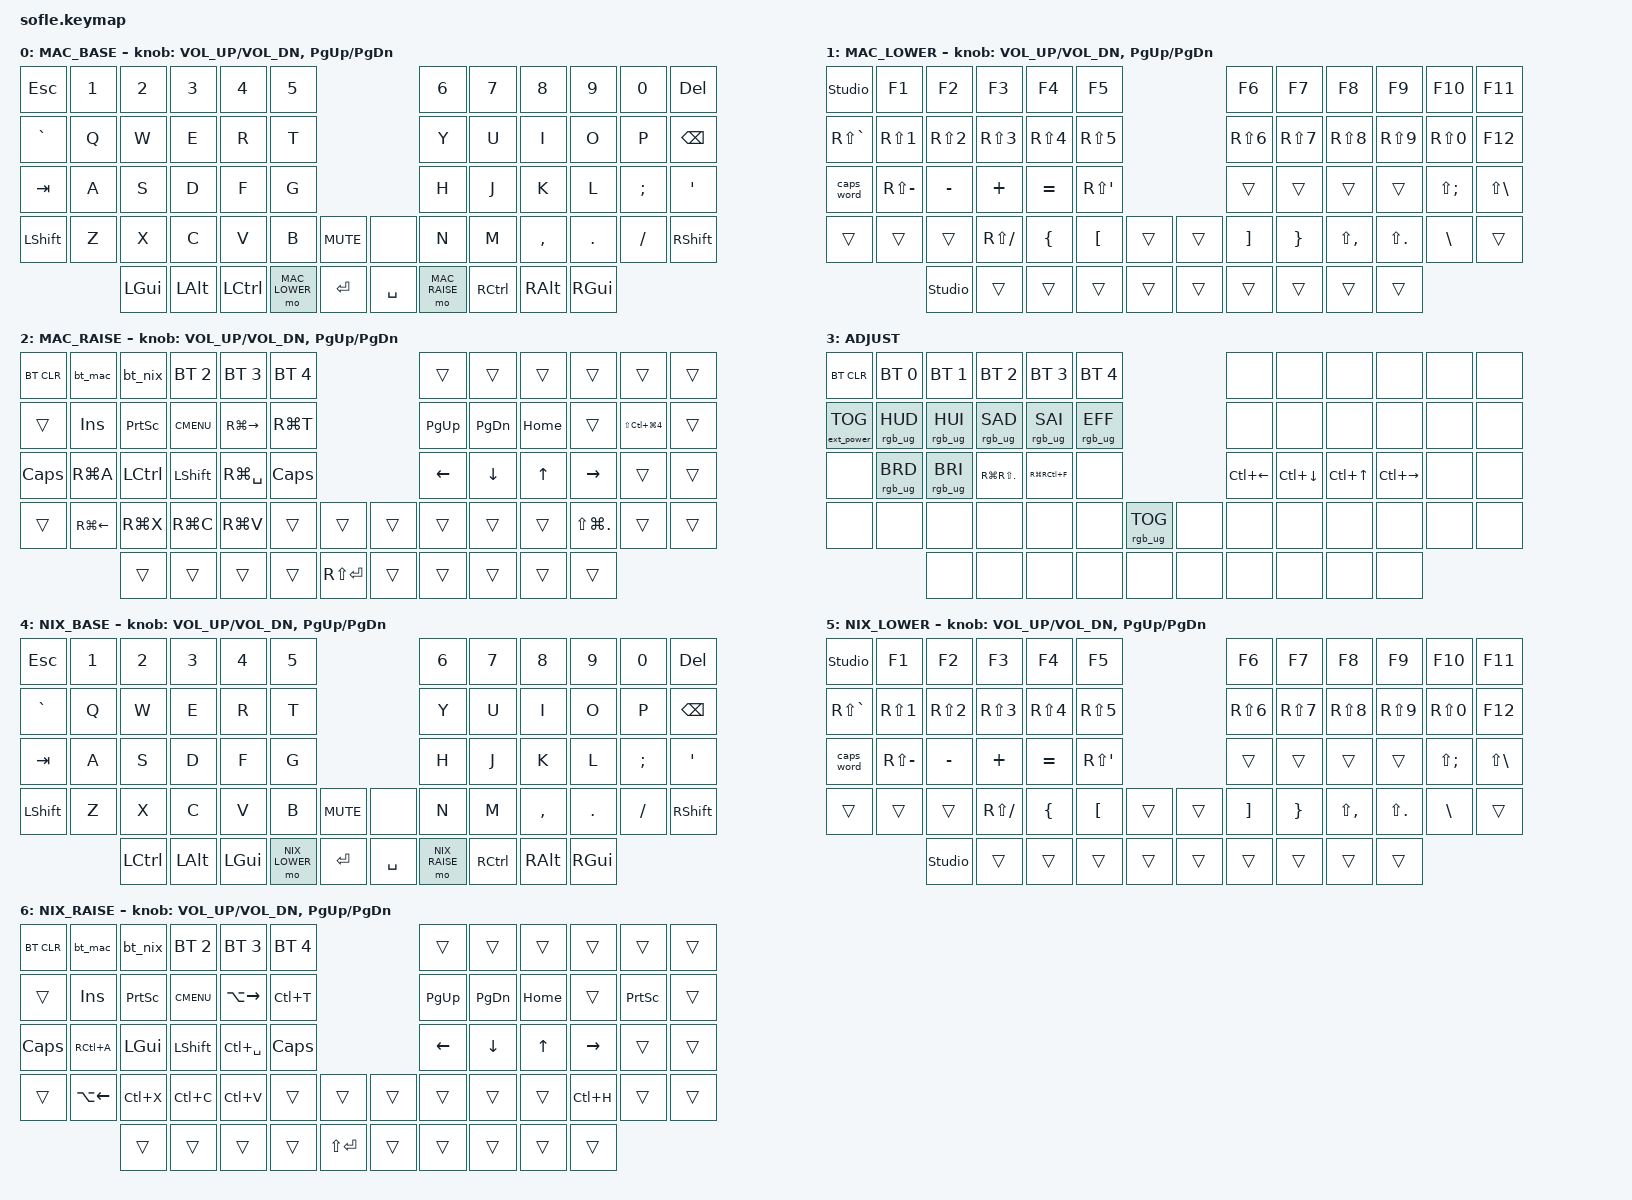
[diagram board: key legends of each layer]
/*
 * Copyright (c) 2020 The ZMK Contributors
 *
 * SPDX-License-Identifier: MIT
 */

#include <behaviors.dtsi>
#include <dt-bindings/zmk/bt.h>
#include <dt-bindings/zmk/ext_power.h>
#include <dt-bindings/zmk/keys.h>
#include <dt-bindings/zmk/rgb.h>

#define MAC_BASE 0
#define MAC_LOWER 1
#define MAC_RAISE 2
#define ADJUST 3
#define NIX_BASE 4
#define NIX_LOWER 5
#define NIX_RAISE 6

/ {
    // --- MACROS ---

    macros {
        // Switch to Mac: Select BT Profile 0 AND switch to Layer 0

        bt_mac: bt_profile_mac {
            label = "BT_MAC";
            compatible = "zmk,behavior-macro";
            #binding-cells = <0>;
            bindings = <&bt BT_SEL 0 &to MAC_BASE>;
        };

        // Switch to Linux: Select BT Profile 1 AND switch to Layer 4

        bt_nix: bt_profile_linux {
            label = "BT_NIX";
            compatible = "zmk,behavior-macro";
            #binding-cells = <0>;
            bindings = <&bt BT_SEL 1 &to NIX_BASE>;
        };
    };

    // --- CONDITIONAL LAYERS ---

    conditional_layers {
        compatible = "zmk,conditional-layers";

        // If Mac Lower + Mac Raise are pressed -> Adjust

        mac_adjust_layer {
            if-layers = <MAC_LOWER MAC_RAISE>;
            then-layer = <ADJUST>;
        };

        // If Linux Lower + Linux Raise are pressed -> Adjust

        nix_adjust_layer {
            if-layers = <NIX_LOWER NIX_RAISE>;
            then-layer = <ADJUST>;
        };
    };

    keymap {
        compatible = "zmk,keymap";

        // ------------------------------------------------------------------------------------------------------------
        // LAYER 0: MAC BASE
        // ------------------------------------------------------------------------------------------------------------
        // |  ESC  |  1  |  2  |  3   |  4   |  5   |                   |  6   |  7    |  8    |  9   |   0   |  DEL  |
        // |   `   |  Q  |  W  |  E   |  R   |  T   |                   |  Y   |  U    |  I    |  O   |   P   | BKSPC |
        // |  TAB  |  A  |  S  |  D   |  F   |  G   |                   |  H   |  J    |  K    |  L   |   ;   |   '   |
        // | SHIFT |  Z  |  X  |  C   |  V   |  B   |  MUTE  |  |       |  N   |  M    |  ,    |  .   |   /   | SHIFT |
        //               | GUI | ALT  | CTRL | LOWER|  ENTER |  | SPACE | RAISE| CTRL  | ALT   | GUI  |

        mac_default_layer {
            label = "MAC_BASE";
            bindings = <
&kp ESCAPE  &kp N1  &kp N2    &kp N3    &kp N4     &kp N5                                  &kp N6         &kp N7     &kp N8     &kp N9    &kp N0    &kp DELETE
&kp GRAVE   &kp Q   &kp W     &kp E     &kp R      &kp T                                   &kp Y          &kp U      &kp I      &kp O     &kp P     &kp BSPC
&kp TAB     &kp A   &kp S     &kp D     &kp F      &kp G                                   &kp H          &kp J      &kp K      &kp L     &kp SEMI  &kp SQT
&kp LSHFT   &kp Z   &kp X     &kp C     &kp V      &kp B          &kp C_MUTE    &none      &kp N          &kp M      &kp COMMA  &kp DOT   &kp FSLH  &kp RSHFT
                    &kp LGUI  &kp LALT  &kp LCTRL  &mo MAC_LOWER  &kp RET       &kp SPACE  &mo MAC_RAISE  &kp RCTRL  &kp RALT   &kp RGUI
            >;

            sensor-bindings = <&inc_dec_kp C_VOL_UP C_VOL_DN &inc_dec_kp PG_UP PG_DN>;
        };

        // ------------------------------------------------------------------------------------------------------------
        // LAYER 1: MAC LOWER
        // ------------------------------------------------------------------------------------------------------------
        // | UNLOCK|  F1 |  F2 |  F3  |  F4  |  F5  |                   |  F6  |  F7   |  F8   |  F9  |  F10  |  F11  |
        // |   ~   |  !  |  @  |  #   |  $   |  %   |                   |  ^   |  &    |  * |  (   |   )   |  F12  |
        // |  CAPS |  !  |  @  |  #   |  $   |  %   |                   |  ^   |  &    |  * |  (   |   )   |   |   |
        // |       |  =  |  -  |  +   |  {   |  }   |        |  |       |  [   |  ]    |  ;    |  :   |   \   |       |
        //               |     |      |      |      |        |  |       |      |       |       |      |

        mac_lower_layer {
            label = "MAC_LOWER";
            bindings = <
&studio_unlock  &kp F1         &kp F2          &kp F3         &kp F4      &kp F5                              &kp F6             &kp F7           &kp F8         &kp F9          &kp F10            &kp F11
&kp RS(GRAVE)   &kp RS(N1)     &kp RS(N2)      &kp RS(N3)     &kp RS(N4)  &kp RS(N5)                          &kp RS(N6)         &kp RS(N7)       &kp RS(N8)     &kp RS(N9)      &kp RS(N0)         &kp F12
&caps_word      &kp RS(MINUS)  &kp MINUS       &kp PLUS       &kp EQUAL   &kp RS(SQT)                         &trans             &trans           &trans         &trans          &kp LS(SEMICOLON)  &kp LS(BACKSLASH)
&trans          &trans         &trans          &kp RS(SLASH)  &kp LBRC    &kp LEFT_BRACKET  &trans    &trans  &kp RIGHT_BRACKET  &kp RIGHT_BRACE  &kp LS(COMMA)  &kp LS(PERIOD)  &kp BSLH           &trans
                               &studio_unlock  &trans         &trans      &trans            &trans    &trans  &trans             &trans           &trans         &trans
            >;

            sensor-bindings = <&inc_dec_kp C_VOL_UP C_VOL_DN &inc_dec_kp PG_UP PG_DN>;
        };

        // ------------------------------------------------------------------------------------------------------------
        // LAYER 2: MAC RAISE
        // ------------------------------------------------------------------------------------------------------------
        // | BTCLR   | MAC | NIX |  BT2 |  BT3 |  BT4 |                   |      |       |       |      |        |       |
        // |         | INS | PSCR| MENU | Cmd->|      |                   | PGUP | PGDN  | HOME  |      | S+C+G+4|      |
        // |CAPS_WORD| ALT | CTRL| SHIFT| CmdSp| CAPS |                   | LEFT | DOWN  |  UP   | RIGHT|        |       |
        // |         |Cmd<-| CmdX| CmdC | CmdV |      |        |  |       |      |       |       |      |        |       |
        //                 |     |      |      |      |        |  |       |      |       |       |      |

        mac_raise_layer {
            label = "MAC_RAISE";
            bindings = <
&bt BT_CLR  &bt_mac       &bt_nix    &bt BT_SEL 2  &bt BT_SEL 3   &bt BT_SEL 4                           &trans     &trans         &trans    &trans              &trans              &trans
&trans      &kp INS       &kp PSCRN  &kp K_CMENU   &kp RG(RIGHT)  &kp RG(T)                              &kp PG_UP  &kp PAGE_DOWN  &kp HOME  &trans              &kp LS(LC(LG(N4)))  &trans
&kp CAPS    &kp RG(A)     &kp LCTRL  &kp LSHFT     &kp RG(SPACE)  &kp CLCK                               &kp LEFT   &kp DOWN       &kp UP    &kp RIGHT           &trans              &trans
&trans      &kp RG(LEFT)  &kp RG(X)  &kp RG(C)     &kp RG(V)      &trans        &trans           &trans  &trans     &trans         &trans    &kp LS(LG(PERIOD))  &trans              &trans
                          &trans     &trans        &trans         &trans        &kp RS(ENTER)    &trans  &trans     &trans         &trans    &trans
            >;

            sensor-bindings = <&inc_dec_kp C_VOL_UP C_VOL_DN &inc_dec_kp PG_UP PG_DN>;
        };

        // ----------------------------------------------------------------------------------------------------------------------------
        // LAYER 3: ADJUST (Shared)
        // ----------------------------------------------------------------------------------------------------------------------------
        // | BTCLR  |  BT0    |  BT1    |   BT2   |   BT3   |   BT4   |                  |      |      |       |      |       |       |
        // | EXTPWR | RGB_HUD | RGB_HUI | RGB_SAD | RGB_SAI | RGB_EFF |                  |      |      |       |      |       |       |
        // |        | RGB_BRD | RGB_BRI | Cmd+S+. | Cmd+C+F |         |                  | C+Lf | C+Dn | C+Up  | C+Rg |       |       |
        // |        |         |         |         |         |         | RGB_TOG | |      |      |      |       |      |       |       |
        //                    |         |         |         |         |         | |      |      |      |       |      |

        adjust_layer {
            label = "ADJUST";
            bindings = <
&bt BT_CLR         &bt BT_SEL 0     &bt BT_SEL 1     &bt BT_SEL 2        &bt BT_SEL 3     &bt BT_SEL 4                               &none         &none         &none       &none          &none  &none
&ext_power EP_TOG  &rgb_ug RGB_HUD  &rgb_ug RGB_HUI  &rgb_ug RGB_SAD     &rgb_ug RGB_SAI  &rgb_ug RGB_EFF                            &none         &none         &none       &none          &none  &none
&none              &rgb_ug RGB_BRD  &rgb_ug RGB_BRI  &kp RG(RS(PERIOD))  &kp RG(RC(F))    &none                                      &kp LC(LEFT)  &kp LC(DOWN)  &kp LC(UP)  &kp LC(RIGHT)  &none  &none
&none              &none            &none            &none               &none            &none            &rgb_ug RGB_TOG    &none  &none         &none         &none       &none          &none  &none
                                    &none            &none               &none            &none            &none              &none  &none         &none         &none       &none
            >;
        };

        // ------------------------------------------------------------------------------------------------------------
        // LAYER 4: NIX BASE
        // ------------------------------------------------------------------------------------------------------------
        // |  ESC  |  1  |  2  |  3   |  4   |  5   |                   |  6   |  7    |  8    |  9   |   0   |  DEL  |
        // |   `   |  Q  |  W  |  E   |  R   |  T   |                   |  Y   |  U    |  I    |  O   |   P   | BKSPC |
        // |  TAB  |  A  |  S  |  D   |  F   |  G   |                   |  H   |  J    |  K    |  L   |   ;   |   '   |
        // | SHIFT |  Z  |  X  |  C   |  V   |  B   |  MUTE  |  |       |  N   |  M    |  ,    |  .   |   /   | SHIFT |
        //               | CTRL| ALT  | GUI  | LOWER|  ENTER |  | SPACE | RAISE| CTRL  | ALT   | GUI  |

        nix_default_layer {
            label = "NIX_BASE";
            bindings = <
&kp ESCAPE  &kp N1  &kp N2     &kp N3    &kp N4    &kp N5                                  &kp N6         &kp N7     &kp N8     &kp N9    &kp N0    &kp DELETE
&kp GRAVE   &kp Q   &kp W      &kp E     &kp R     &kp T                                   &kp Y          &kp U      &kp I      &kp O     &kp P     &kp BSPC
&kp TAB     &kp A   &kp S      &kp D     &kp F     &kp G                                   &kp H          &kp J      &kp K      &kp L     &kp SEMI  &kp SQT
&kp LSHFT   &kp Z   &kp X      &kp C     &kp V     &kp B          &kp C_MUTE    &none      &kp N          &kp M      &kp COMMA  &kp DOT   &kp FSLH  &kp RSHFT
                    &kp LCTRL  &kp LALT  &kp LGUI  &mo NIX_LOWER  &kp RET       &kp SPACE  &mo NIX_RAISE  &kp RCTRL  &kp RALT   &kp RGUI
            >;

            sensor-bindings = <&inc_dec_kp C_VOL_UP C_VOL_DN &inc_dec_kp PG_UP PG_DN>;
        };

        // ------------------------------------------------------------------------------------------------------------
        // LAYER 5: NIX LOWER
        // ------------------------------------------------------------------------------------------------------------
        // | UNLOCK|  F1 |  F2 |  F3  |  F4  |  F5  |                   |  F6  |  F7   |  F8   |  F9  |  F10  |  F11  |
        // |   ~   |  !  |  @  |  #   |  $   |  %   |                   |  ^   |  &    |  *    |  (   |   )   |  F12  |
        // |  CAPS |  !  |  @  |  #   |  $   |  %   |                   |  ^   |  &    |  *    |  (   |   )   |   |   |
        // |       |  =  |  -  |  +   |  {   |  }   |        |  |       |  [   |  ]    |  ;    |  :   |   \   |       |
        //               |     |      |      |      |        |  |       |      |       |       |      |

        nix_lower_layer {
            label = "NIX_LOWER";
            bindings = <
&studio_unlock  &kp F1         &kp F2          &kp F3         &kp F4      &kp F5                              &kp F6             &kp F7           &kp F8         &kp F9          &kp F10            &kp F11
&kp RS(GRAVE)   &kp RS(N1)     &kp RS(N2)      &kp RS(N3)     &kp RS(N4)  &kp RS(N5)                          &kp RS(N6)         &kp RS(N7)       &kp RS(N8)     &kp RS(N9)      &kp RS(N0)         &kp F12
&caps_word      &kp RS(MINUS)  &kp MINUS       &kp PLUS       &kp EQUAL   &kp RS(SQT)                         &trans             &trans           &trans         &trans          &kp LS(SEMICOLON)  &kp LS(BACKSLASH)
&trans          &trans         &trans          &kp RS(SLASH)  &kp LBRC    &kp LEFT_BRACKET  &trans    &trans  &kp RIGHT_BRACKET  &kp RIGHT_BRACE  &kp LS(COMMA)  &kp LS(PERIOD)  &kp BSLH           &trans
                               &studio_unlock  &trans         &trans      &trans            &trans    &trans  &trans             &trans           &trans         &trans
            >;

            sensor-bindings = <&inc_dec_kp C_VOL_UP C_VOL_DN &inc_dec_kp PG_UP PG_DN>;
        };

        // ----------------------------------------------------------------------------------------------------------------
        // LAYER 6: NIX RAISE
        // ----------------------------------------------------------------------------------------------------------------
        // | BTCLR   | MAC | NIX  |  BT2 |  BT3  |  BT4 |                   |      |       |       |      |       |       |
        // |         | INS | PSCR | MENU | ALT-> |      |                   | PGUP | PGDN  | HOME  |      | PSCRN |       |
        // |CAPS_WORD| ALT | GUI  | SHIFT| CtrlSp| CAPS |                   | LEFT | DOWN  |  UP   | RIGHT|       |       |
        // |         |ALT<-| CtrlX| CtrlC| CtrlV |      |        |  |       |      |       |       |      |       |       |
        //                 |      |      |       |      |        |  |       |      |       |       |      |

        nix_raise_layer {
            label = "NIX_RAISE";
            bindings = <
&bt BT_CLR  &bt_mac       &bt_nix    &bt BT_SEL 2  &bt BT_SEL 3   &bt BT_SEL 4                           &trans     &trans         &trans    &trans     &trans     &trans
&trans      &kp INS       &kp PSCRN  &kp K_CMENU   &kp LA(RIGHT)  &kp LC(T)                              &kp PG_UP  &kp PAGE_DOWN  &kp HOME  &trans     &kp PSCRN  &trans
&kp CAPS    &kp RC(A)     &kp LGUI   &kp LSHFT     &kp LC(SPACE)  &kp CLCK                               &kp LEFT   &kp DOWN       &kp UP    &kp RIGHT  &trans     &trans
&trans      &kp LA(LEFT)  &kp LC(X)  &kp LC(C)     &kp LC(V)      &trans        &trans           &trans  &trans     &trans         &trans    &kp LC(H)  &trans     &trans
                          &trans     &trans        &trans         &trans        &kp LS(ENTER)    &trans  &trans     &trans         &trans    &trans
            >;

            sensor-bindings = <&inc_dec_kp C_VOL_UP C_VOL_DN &inc_dec_kp PG_UP PG_DN>;
        };
    };
};
